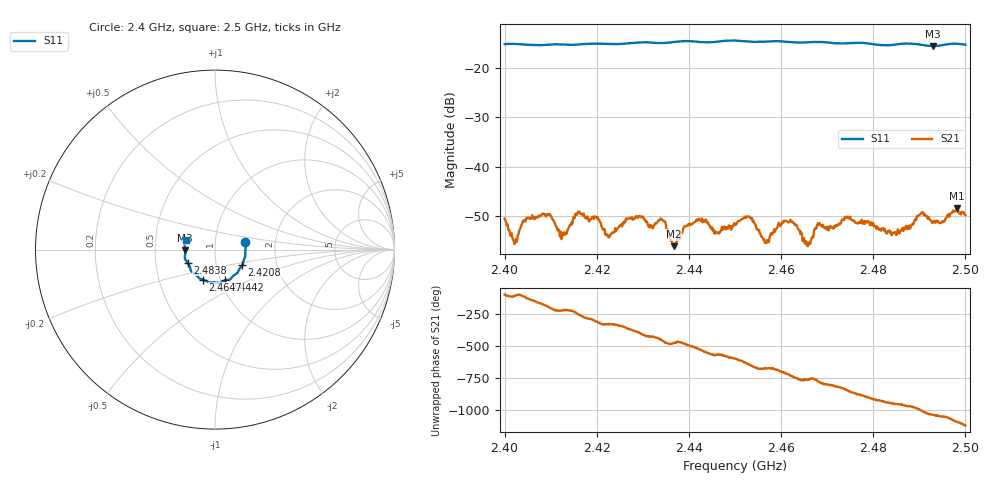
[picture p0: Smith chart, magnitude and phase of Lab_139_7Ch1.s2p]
# Hz S RI R 50
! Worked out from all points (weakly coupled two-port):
!   601 points, 2.4 GHz to 2.5 GHz, reference 50 ohm
!   highest |S21| = -48.43 dB at 2.4982 GHz (marker M1); lowest = -56.1 dB at 2.4367 GHz (marker M2)
!   lowest |S11| = -15.6 dB at 2.493 GHz (marker M3), VSWR 1.40, Z = 35.8 - j0.221 ohm
!   |S11| at or under -10 dB: start of sweep to end of sweep
!   S12 and S22 are empty: the file has one direction only
!   S11 on the Smith chart (normalised r, x): 2.4 GHz: 1.40, +0.12; 2.4208 GHz: 1.33, -0.24; 2.4442 GHz: 1.05, -0.37; 2.4647 GHz: 0.83, -0.29; 2.4838 GHz: 0.73, -0.11; 2.5 GHz: 0.72, +0.08
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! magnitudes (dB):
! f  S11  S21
! 2.4 GHz  -15.2  -50.5
! 2.4022 GHz  -15.2  -55.6
! 2.4048 GHz  -15.4  -50.3
! 2.4097 GHz  -15.3  -49.6
! 2.4128 GHz  -15.3  -53.8
! 2.4167 GHz  -15.2  -49.5
! 2.4208 GHz  -15.1  -51.3
! 2.4333 GHz  -15.0  -50.9
! 2.4367 GHz  -14.8  -56.1
! 2.4442 GHz  -14.9  -51.3
! 2.45 GHz  -14.5  -51.6
! 2.4532 GHz  -14.7  -50.1
! 2.4568 GHz  -14.7  -55.4
! 2.4623 GHz  -14.8  -51.2
! 2.4647 GHz  -14.9  -55.1
! 2.4667 GHz  -14.8  -54.3
! 2.4743 GHz  -15.1  -50.1
! 2.4833 GHz  -15.5  -53.0
! 2.4838 GHz  -15.4  -53.1
! 2.493 GHz  -15.6  -51.2
! 2.4982 GHz  -15.1  -48.4
! 2.5 GHz  -15.3  -49.8
